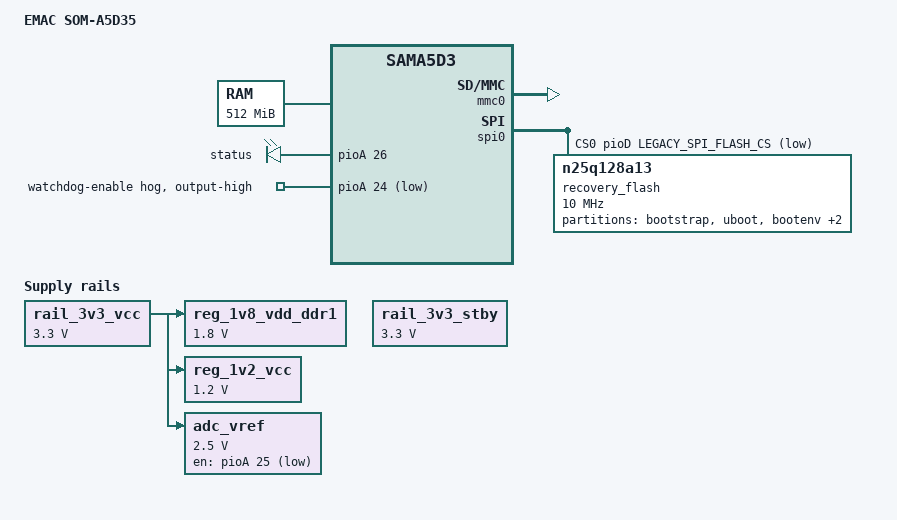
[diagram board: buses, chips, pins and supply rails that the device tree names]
// SPDX-License-Identifier: GPL-2.0-or-later
/*
 * som-a5d35-bare.dtsi - Device Tree Include file for the SOM-A5D35.
 *
 * Copyright (C) 2023 EMAC Inc.
 *
 */
 
#include "sama5d35.dtsi"
#include <dt-bindings/gpio/gpio.h>

#define LEGACY_SPI_FLASH_CS 	13
#define CURRENT_SPI_FLASH_CS 	14

/ {
	model = "EMAC SOM-A5D35";
	compatible = "emac,soma5d35", "atmel,sama5d35", "atmel,sama5d3", "atmel,sama5";

	// 512 MB RAM
	memory@20000000 {
		reg = <0x20000000 0x20000000>;
	};

	clocks {
		#address-cells = <1>;
		#size-cells = <1>;
		ranges;

		slow_xtal {
			clock-frequency = <32768>;
		};

		main_xtal {
			clock-frequency = <12000000>;
		};

		eth_phy_clk: eth_phy_clk {
			compatible = "fixed-clock";
			#clock-cells = <0>;
			clock-frequency = <50000000>;
			clock-output-names = "phy-clk";
			gpios = <&pioC 10 GPIO_ACTIVE_HIGH>;
		};
	};

	leds {
		compatible = "gpio-leds";
		status {
			label = "status";
			gpios = <&pioA 26 GPIO_ACTIVE_HIGH>;
			default-state = "on";
		};
	};

	regulators {
		compatible = "simple-bus";
		#address-cells = <1>;
		#size-cells = <0>;

		reg_1v8_vdd_ddr1: reg_1v8_vdd_ddr1@0 {
			compatible = "regulator-fixed";
			reg = <0>;
			regulator-name = "1V8_VDD_DDR1";
			regulator-min-microvolt = <1800000>;
			regulator-max-microvolt = <1800000>;
			regulator-always-on;
			vin-supply = <&rail_3v3_vcc>;
		};
		reg_1v2_vcc: reg_1v2_vcc@1 {
			compatible = "regulator-fixed";
			reg = <1>;
			regulator-name = "1V2_VCC";
			regulator-min-microvolt = <1200000>;
			regulator-max-microvolt = <1200000>;
			regulator-always-on;
			vin-supply = <&rail_3v3_vcc>;
		};
		rail_3v3_vcc: rail_3v3_vcc@2 {
			compatible = "regulator-fixed";
			reg = <2>;
			regulator-name = "3V3_VCC";
			regulator-min-microvolt = <3300000>;
			regulator-max-microvolt = <3300000>;
			regulator-always-on;
		};
		rail_3v3_stby: rail_3v3_stby@3 {
			compatible = "regulator-fixed";
			reg = <3>;
			regulator-name = "3V3_STBY";
			regulator-min-microvolt = <3300000>;
			regulator-max-microvolt = <3300000>;
			regulator-always-on;
		};
		adc_vref: adc_vref@4 {
			compatible = "regulator-fixed";
			reg = <4>;
			regulator-name = "ADC_VREF";
			regulator-min-microvolt = <2500000>;
			regulator-max-microvolt = <2500000>;
			gpio = <&pioA 25 GPIO_ACTIVE_LOW>;
			vin-supply = <&rail_3v3_vcc>;
		};
	};

	gpio_watchdog: watchdog {
		/* MAX6747 */
		compatible = "linux,wdt-gpio";
		pinctrl-names = "default";
		pinctrl-0 = <&pinctrl_watchdog>;
		gpios = <&pioA 23 GPIO_ACTIVE_LOW>;
		hw_algo = "level";
		hw_margin_ms = <1000>;
		status = "disabled";
	};
};

&pinctrl {
	watchdog {
		pinctrl_watchdog: pinctrl_watchdog {
			atmel,pins =
				<AT91_PIOA 23 AT91_PERIPH_GPIO AT91_PINCTRL_PULL_UP>;
		};
	};
	usba {
		pinctrl_usba_vbus: pinctrl_usba_vbus {
			atmel,pins =
				<AT91_PIOD 30 AT91_PERIPH_GPIO AT91_PINCTRL_DEGLITCH>;
		};
	};
	ebi{ /* pins renamed due to upstream bug */
		pinctrl_ebi_cs0: ebi-cs0-0 {
			atmel,pins =
				<AT91_PIOE 26 AT91_PERIPH_A AT91_PINCTRL_NONE>;
		};

		pinctrl_ebi_cs1: ebi-cs1-0 {
			atmel,pins =
				<AT91_PIOE 27 AT91_PERIPH_A AT91_PINCTRL_NONE>;
		};

		pinctrl_ebi_cs2: ebi-cs2-0 {
			atmel,pins =
				<AT91_PIOE 28 AT91_PERIPH_A AT91_PINCTRL_NONE>;
		};

		pinctrl_ebi_nwait: ebi-nwait-0 {
			atmel,pins =
				<AT91_PIOE 30 AT91_PERIPH_A AT91_PINCTRL_NONE>;
		};

		pinctrl_ebi_nwr1_nbs1: ebi-nwr1-nbs1-0 {
			atmel,pins =
				<AT91_PIOE 29 AT91_PERIPH_A AT91_PINCTRL_NONE>;
		};
	};

};

&pioA {
	gpio_watchdog_en: watchdog-enable {
		gpio-hog;
		gpios = <24 GPIO_ACTIVE_LOW>;
		output-high;
		/* LOW - enabled , HIGH - disabled */
		line-name = "watchdog-enable";
	};
};

&tcb0 {
	timer@0 {
		compatible = "atmel,tcb-timer";
		reg = <0>;
	};
};

&tcb1 {
	timer@0 {
		compatible = "atmel,tcb-timer";
		reg = <0>;
	};
};

&macb1 {
	phy-mode = "rmii";
	status = "disabled";
	phy-handle = <&ethphy1>;
	#address-cells = <1>;
	#size-cells = <0>;
	ethphy1: ethernet-phy@1 {
		reg = <0x1>;
		micrel-led-mode = <1>;
		clocks = <&eth_phy_clk>;
		clock-names = "rmii-ref";
		interrupt-parent = <&pioD>;
		interrupts = <19 IRQ_TYPE_LEVEL_LOW>;
	};
};

&mmc0 {
	pinctrl-names = "default";
	pinctrl-0 = <&pinctrl_mmc0_clk_cmd_dat0 &pinctrl_mmc0_dat1_3>;
	status = "okay";
	slot@0 {
		reg = <0>;
		bus-width = <4>;
		non-removable;
	};
};

&i2c0 {
	status = "disabled";
	clock-frequency = <400000>;
	
	eeprom: atmel@50 {
		compatible = "atmel,24c02";
		reg = <0x50>;
		status = "disabled";
	};
};

&spi0 {
	num-cs = <1>;
	pinctrl-0 = <&pinctrl_spi0>;
	cs-gpios = <&pioD LEGACY_SPI_FLASH_CS GPIO_ACTIVE_LOW>;
	status = "okay";
	recovery_flash: flash@0 {
		compatible = "n25q128a13", "jedec,spi-nor";
		/* 8MB Serial Flash*/
		reg = <0x0>;
		spi-max-frequency = <10000000>;
		status = "okay";
		partitions {
			compatible = "fixed-partitions";
			#address-cells = <1>;
			#size-cells = <1>;
			partition@0 {
				label = "bootstrap";
				reg = <0x00000000 0x00010000>;
			};
			partition@10000 {
				label = "uboot";
				reg = <0x00010000 0x000b0000>;
			};
			partition@c0000 {
				label = "bootenv";
				reg = <0x000c0000 0x00040000>;
			};
			partition@100000 {
				label = "kernel";
				reg = <0x00100000 0x00700000>;
			};
			partition@800000 {
				label = "dtb";
				reg = <0x00800000 0x00100000>;
			};
		};
	};
};

&usb0 {
	atmel,vbus-gpio = <&pioD 30 GPIO_ACTIVE_HIGH>;
	pinctrl-names = "default";
	pinctrl-0 = <&pinctrl_usba_vbus>;
	status = "disabled";
};

&usb1 {
	num-ports = <3>;
	status = "disabled";
};
